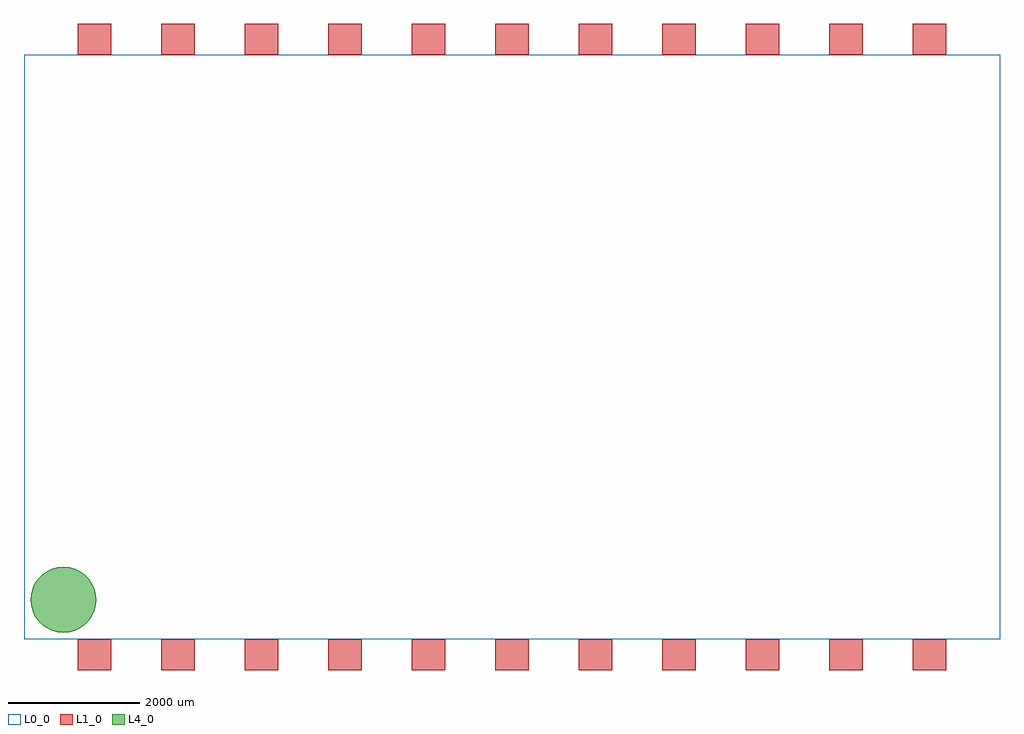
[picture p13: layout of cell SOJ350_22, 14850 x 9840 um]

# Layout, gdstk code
import gdstk
lib = gdstk.Library(unit=1e-6, precision=1e-09)
def R(c, l, rs):  # rectangles x0, y0, x1, y1
    for r in rs: c.add(gdstk.rectangle(r[:2], r[2:], *l))
def A(c, l, x, y, w, h, nx, ny, dx, dy):  # array of equal rectangles
    R(c, l, [(x+i*dx, y+j*dy, x+i*dx+w, y+j*dy+h) for i in range(nx) for j in range(ny)])
def P(c, l, *ps):  # polygons
    for p in ps: c.add(gdstk.Polygon(p, *l))
L0_0 = (0, 0)
L1_0 = (1, 0)
L4_0 = (4, 0)
L99_1 = (99, 1)
L99_2 = (99, 2)
L99_3 = (99, 3)
L99_4 = (99, 4)
L99_5 = (99, 5)
L99_6 = (99, 6)
L99_7 = (99, 7)
L99_8 = (99, 8)
L99_9 = (99, 9)
L99_10 = (99, 10)
L99_11 = (99, 11)
L99_12 = (99, 12)
L99_13 = (99, 13)
L99_14 = (99, 14)
L99_15 = (99, 15)
L99_16 = (99, 16)
L99_17 = (99, 17)
L99_18 = (99, 18)
L99_19 = (99, 19)
L99_20 = (99, 20)
L99_21 = (99, 21)
L99_22 = (99, 22)

soj350_22 = lib.new_cell('SOJ350_22')
R(soj350_22, L0_0, [(0,0,14850,8890)])
A(soj350_22, L1_0, 820, -475, 510, 475, 11, 2, 1270, 9365)
P(soj350_22, L4_0, [(1100,600),(1092.404,513.176),(1069.846,428.99),(1033.013,350),(983.022,278.606),(921.394,216.978),(850,166.987),(771.01,130.154),(686.824,107.596),(600,100),(513.176,107.596),(428.99,130.154),(350,166.987),(278.606,216.978),(216.978,278.606),(166.987,350),(130.154,428.99),(107.596,513.176),(100,600),(107.596,686.824),(130.154,771.01),(166.987,850),(216.978,921.394),(278.606,983.022),(350,1033.013),(428.99,1069.846),(513.176,1092.404),(600,1100),(686.824,1092.404),(771.01,1069.846),(850,1033.013),(921.394,983.022),(983.022,921.394),(1033.013,850),(1069.846,771.01),(1092.404,686.824)])
soj350_22.add(gdstk.FlexPath([(1330,0),(820,0)], 0, ends="round", simple_path=True, layer=99, datatype=1))  # L99_1
soj350_22.add(gdstk.FlexPath([(2600,0),(2090,0)], 0, ends="round", simple_path=True, layer=99, datatype=2))  # L99_2
soj350_22.add(gdstk.FlexPath([(3870,0),(3360,0)], 0, ends="round", simple_path=True, layer=99, datatype=3))  # L99_3
soj350_22.add(gdstk.FlexPath([(5140,0),(4630,0)], 0, ends="round", simple_path=True, layer=99, datatype=4))  # L99_4
soj350_22.add(gdstk.FlexPath([(6410,0),(5900,0)], 0, ends="round", simple_path=True, layer=99, datatype=5))  # L99_5
soj350_22.add(gdstk.FlexPath([(7680,0),(7170,0)], 0, ends="round", simple_path=True, layer=99, datatype=6))  # L99_6
soj350_22.add(gdstk.FlexPath([(8950,0),(8440,0)], 0, ends="round", simple_path=True, layer=99, datatype=7))  # L99_7
soj350_22.add(gdstk.FlexPath([(10220,0),(9710,0)], 0, ends="round", simple_path=True, layer=99, datatype=8))  # L99_8
soj350_22.add(gdstk.FlexPath([(11490,0),(10980,0)], 0, ends="round", simple_path=True, layer=99, datatype=9))  # L99_9
soj350_22.add(gdstk.FlexPath([(12760,0),(12250,0)], 0, ends="round", simple_path=True, layer=99, datatype=10))  # L99_10
soj350_22.add(gdstk.FlexPath([(14030,0),(13520,0)], 0, ends="round", simple_path=True, layer=99, datatype=11))  # L99_11
soj350_22.add(gdstk.FlexPath([(820,8890),(1330,8890)], 0, ends="round", simple_path=True, layer=99, datatype=22))  # L99_22
soj350_22.add(gdstk.FlexPath([(2090,8890),(2600,8890)], 0, ends="round", simple_path=True, layer=99, datatype=21))  # L99_21
soj350_22.add(gdstk.FlexPath([(3360,8890),(3870,8890)], 0, ends="round", simple_path=True, layer=99, datatype=20))  # L99_20
soj350_22.add(gdstk.FlexPath([(4630,8890),(5140,8890)], 0, ends="round", simple_path=True, layer=99, datatype=19))  # L99_19
soj350_22.add(gdstk.FlexPath([(5900,8890),(6410,8890)], 0, ends="round", simple_path=True, layer=99, datatype=18))  # L99_18
soj350_22.add(gdstk.FlexPath([(7170,8890),(7680,8890)], 0, ends="round", simple_path=True, layer=99, datatype=17))  # L99_17
soj350_22.add(gdstk.FlexPath([(8440,8890),(8950,8890)], 0, ends="round", simple_path=True, layer=99, datatype=16))  # L99_16
soj350_22.add(gdstk.FlexPath([(9710,8890),(10220,8890)], 0, ends="round", simple_path=True, layer=99, datatype=15))  # L99_15
soj350_22.add(gdstk.FlexPath([(10980,8890),(11490,8890)], 0, ends="round", simple_path=True, layer=99, datatype=14))  # L99_14
soj350_22.add(gdstk.FlexPath([(12250,8890),(12760,8890)], 0, ends="round", simple_path=True, layer=99, datatype=13))  # L99_13
soj350_22.add(gdstk.FlexPath([(13520,8890),(14030,8890)], 0, ends="round", simple_path=True, layer=99, datatype=12))  # L99_12

lib.write_gds('SOJ350_22.gds')
